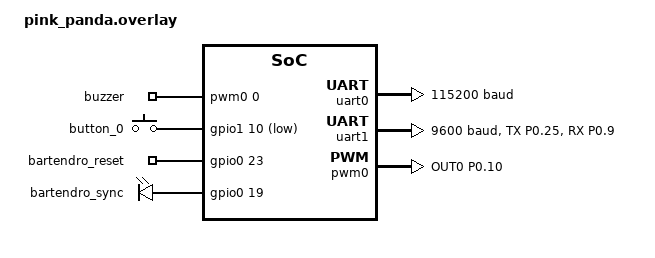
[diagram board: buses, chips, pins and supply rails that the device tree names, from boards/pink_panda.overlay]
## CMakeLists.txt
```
#-------------------------------------------------------------------------------
# Zephyr Example Application
#
# Copyright (c) 2022 François Gervais
# SPDX-License-Identifier: Apache-2.0

# set(OVERLAY_CONFIG "secret.conf")

cmake_minimum_required(VERSION 3.20.0)
list(APPEND BOARD_ROOT ${CMAKE_CURRENT_SOURCE_DIR})
find_package(Zephyr REQUIRED HINTS $ENV{ZEPHYR_BASE})

execute_process(COMMAND git describe
                WORKING_DIRECTORY ${CMAKE_CURRENT_SOURCE_DIR}
                OUTPUT_VARIABLE GIT_DESCRIBE
                ERROR_QUIET)
string(STRIP "${GIT_DESCRIBE}" GIT_DESCRIBE)
STRING(REGEX MATCH "[0-9]+\\.[0-9]+\\.[0-9]+"
       VERSION "${GIT_DESCRIBE}")

project(app LANGUAGES C VERSION ${VERSION})

configure_file(app_version.h.in ${CMAKE_BINARY_DIR}/app/include/app_version.h)
target_include_directories(app PRIVATE ${CMAKE_BINARY_DIR}/app/include src)

target_sources(app PRIVATE
        src/bartendro.c
        src/init.c
        src/reset.c
        src/main.c)
```

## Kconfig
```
mainmenu "Thread Button Application"

config APP_SUSPEND_CONSOLE
	bool "Suspend console"
	help
	  Suspend console.

config APP_USE_TEXT_MODE
	bool "Use the Bartendro text mode"
	help
	  Use the Bartendro text mode.

config APP_WATCHDOG_TIMEOUT_SEC
	int "Watchdog timeout (sec)"
	default 30
	help
	  Watchdog timeout in seconds.

config APP_MAIN_LOOP_PERIOD_SEC
	int "Main loop period (sec)"
	default 10
	help
	  Main loop period in seconds.

source "Kconfig.zephyr"
```

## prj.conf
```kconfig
CONFIG_INPUT=y
CONFIG_WATCHDOG=y
CONFIG_SERIAL=y

CONFIG_HEAP_MEM_POOL_SIZE=2048

CONFIG_PM_DEVICE=y

CONFIG_MAIN_STACK_SIZE=2048
CONFIG_LOG_BUFFER_SIZE=2048

CONFIG_BOARD_ENABLE_DCDC=y

CONFIG_THREAD_NAME=y
CONFIG_EVENTS=y

CONFIG_CONSOLE=y
CONFIG_UART_CONSOLE=y

CONFIG_PWM=y

CONFIG_HWINFO=y
CONFIG_THREAD_ANALYZER=y
CONFIG_INPUT_LOG_LEVEL_DBG=y
CONFIG_INPUT_THREAD_STACK_SIZE=1024
CONFIG_LOG_SPEED=y
CONFIG_LOG=y
```

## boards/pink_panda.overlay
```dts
#include <zephyr/dt-bindings/input/input-event-codes.h>

/ {
	/*
	* In some default configurations within the nRF Connect SDK,
	* e.g. on nRF52840, the chosen zephyr,entropy node is &cryptocell.
	* This devicetree overlay ensures that default is overridden wherever it
	* is set, as this application uses the RNG node for entropy exclusively.
	*/
	chosen {
		zephyr,entropy = &rng;
	};

	aliases {
		bartendro-uart = &uart1;
	};

	pwms {
		compatible = "pwm-leds";
		buzzer: pwm_buzzer {
			pwms = <&pwm0 0 PWM_USEC(250) PWM_POLARITY_NORMAL>;
		};
	};

	button: button {
		compatible = "gpio-keys";
		button_0 {
			gpios = <&gpio1 10 (GPIO_PULL_UP | GPIO_ACTIVE_LOW)>;
			zephyr,code = <INPUT_KEY_0>;
		};
	};

	longpress: longpress {
		input = <&button>;
		compatible = "zephyr,input-longpress";
		input-codes = <INPUT_KEY_0>;
		short-codes = <INPUT_KEY_A>;
		long-codes = <INPUT_KEY_X>;
		long-delay-ms = <1000>;
	};

	gpios {
		compatible = "gpio-leds";
		bartendro_reset: gpio_reset {
			gpios = <&gpio0 23 GPIO_ACTIVE_HIGH>;
		};
		bartendro_sync: gpio_sync {
			gpios = <&gpio0 19 GPIO_ACTIVE_HIGH>;
		};
	};
};

&pinctrl {
	uart1_default: uart1_default {
		group1 {
			psels = <NRF_PSEL(UART_TX, 0, 25)>;
		};
		group2 {
			psels = <NRF_PSEL(UART_RX, 0, 9)>;
			bias-pull-up;
		};
	};

	uart1_sleep: uart1_sleep {
		group1 {
			psels = <NRF_PSEL(UART_TX, 0, 25)>,
				<NRF_PSEL(UART_RX, 0, 9)>;
			low-power-enable;
		};
	};

	pwm0_default: pwm0_default {
		group1 {
			psels = <NRF_PSEL(PWM_OUT0, 0, 10)>;
		};
	};

	pwm0_sleep: pwm0_sleep {
		group1 {
			psels = <NRF_PSEL(PWM_OUT0, 0, 10)>;
			low-power-enable;
		};
	};
};
&adc {
	status = "disabled";
};
&uart0 {
	compatible = "nordic,nrf-uarte";
	status = "okay";
	current-speed = <115200>;
	pinctrl-0 = <&uart0_default>;
	pinctrl-1 = <&uart0_sleep>;
	pinctrl-names = "default", "sleep";
};
&uart1 {
	compatible = "nordic,nrf-uarte";
	status = "okay";
	current-speed = <9600>;
	pinctrl-0 = <&uart1_default>;
	pinctrl-1 = <&uart1_sleep>;
	pinctrl-names = "default", "sleep";
};
&pwm0 {
	status = "okay";
	pinctrl-0 = <&pwm0_default>;
	pinctrl-1 = <&pwm0_sleep>;
	pinctrl-names = "default", "sleep";
};
&i2c0 {
	status = "disabled";
};
&spi0 {
	status = "disabled";
};
&spi1 {
	status = "disabled";
};
&spi2 {
	status = "disabled";
};
&spi3 {
	status = "disabled";
};
&qspi {
	status = "disabled";
};
&usbd {
	status = "disabled";
};
&gpio0 {
	status = "okay";
};
&gpio1 {
	status = "okay";
};
&ieee802154 {
	status = "disabled";
};
```

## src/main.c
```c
#include <hal/nrf_power.h>

#include <zephyr/debug/thread_analyzer.h>
#include <zephyr/drivers/gpio.h>
#include <zephyr/drivers/pwm.h>
#include <zephyr/drivers/watchdog.h>
#include <zephyr/init.h>
#include <zephyr/input/input.h>
#include <zephyr/kernel.h>
#include <zephyr/pm/device.h>
#include <zephyr/sys/reboot.h>

#include <zephyr/logging/log.h>
LOG_MODULE_REGISTER(main, LOG_LEVEL_DBG);

#include <app_version.h>

#include "bartendro.h"
#include "init.h"
#include "reset.h"


#define DISPENSE_REQUIRED_EVENT		BIT(0)
#define DISPENSE_ERROR_EVENT		BIT(1)

#define RUN_ANALYSIS_EVERY_SEC		60
#define NUMBER_OF_LOOP_RUN_ANALYSIS	(RUN_ANALYSIS_EVERY_SEC / CONFIG_APP_MAIN_LOOP_PERIOD_SEC)

#define ERROR_BOOT_TOKEN			(uint8_t)0x38


static const struct device *const longpress_dev = DEVICE_DT_GET(
	DT_NODELABEL(longpress));

static bool ready = false;

static K_EVENT_DEFINE(dispense_events);


static int change_output_voltage(void)
{
	if ((nrf_power_mainregstatus_get(NRF_POWER) ==
	     NRF_POWER_MAINREGSTATUS_HIGH) &&
	    ((NRF_UICR->REGOUT0 & UICR_REGOUT0_VOUT_Msk) ==
	     (UICR_REGOUT0_VOUT_DEFAULT << UICR_REGOUT0_VOUT_Pos))) {

		NRF_NVMC->CONFIG = NVMC_CONFIG_WEN_Wen << NVMC_CONFIG_WEN_Pos;
		while (NRF_NVMC->READY == NVMC_READY_READY_Busy) {
			;
		}

		NRF_UICR->REGOUT0 =
		    (NRF_UICR->REGOUT0 & ~((uint32_t)UICR_REGOUT0_VOUT_Msk)) |
		    (UICR_REGOUT0_VOUT_3V3 << UICR_REGOUT0_VOUT_Pos);

		NRF_NVMC->CONFIG = NVMC_CONFIG_WEN_Ren << NVMC_CONFIG_WEN_Pos;
		while (NRF_NVMC->READY == NVMC_READY_READY_Busy) {
			;
		}

		/* a reset is required for changes to take effect */
		NVIC_SystemReset();
	}

	return 0;
}

SYS_INIT(change_output_voltage, PRE_KERNEL_1,
	 CONFIG_KERNEL_INIT_PRIORITY_DEFAULT);

static void beep(const struct pwm_dt_spec *buzzer)
{
	pwm_set_dt(buzzer, PWM_USEC(250U), PWM_USEC(250U) * 0.53);
	k_sleep(K_MSEC(50));
	pwm_set_dt(buzzer, PWM_USEC(250U), 0);
	k_sleep(K_MSEC(50));
}

static void beep_long(const struct pwm_dt_spec *buzzer)
{
	pwm_set_dt(buzzer, PWM_USEC(250U), PWM_USEC(250U) * 0.53);
	k_sleep(K_MSEC(250));
	pwm_set_dt(buzzer, PWM_USEC(250U), 0);
}

static void beeps(const struct pwm_dt_spec *buzzer, int number) {
	int i;

	for (i = 0; i < number; i++) {
		beep(buzzer);
	}
}

int main(void)
{
	const struct device *wdt = DEVICE_DT_GET(DT_NODELABEL(wdt0));
#if defined(CONFIG_APP_SUSPEND_CONSOLE)
	const struct device *cons = DEVICE_DT_GET(DT_CHOSEN(zephyr_console));
#endif
	const struct pwm_dt_spec buzzer = PWM_DT_SPEC_GET(
		DT_NODELABEL(buzzer));

	const struct gpio_dt_spec reset_pin = GPIO_DT_SPEC_GET(
		DT_NODELABEL(bartendro_reset), gpios);
	const struct gpio_dt_spec sync_pin = GPIO_DT_SPEC_GET(
		DT_NODELABEL(bartendro_sync), gpios);

	const struct device *uart = DEVICE_DT_GET(DT_NODELABEL(uart1));

	int ret;
	uint32_t events;
	int main_wdt_chan_id = -1;
	uint32_t reset_cause;
	bool fast_boot = false;

	uint32_t main_loop_counter = 0;


	init_watchdog(wdt, &main_wdt_chan_id);

	LOG_INF("\n\n🚀 MAIN START (%s) 🚀\n", APP_VERSION_FULL);

	reset_cause = show_reset_cause();
	clear_reset_cause();

	if (is_reset_cause_watchdog(reset_cause)
		 || nrf_power_gpregret_get(NRF_POWER) == ERROR_BOOT_TOKEN) {
		LOG_INF("🔥 Fast boot!");
		fast_boot = true;
	}

	if (!pwm_is_ready_dt(&buzzer)) {
		LOG_ERR("Buzzer is not ready");
		return 0;
	}

	if (!gpio_is_ready_dt(&reset_pin)) {
		LOG_ERR("LED device %s is not ready", reset_pin.port->name);
		return 0;
	}

	if (!gpio_is_ready_dt(&sync_pin)) {
		LOG_ERR("LED device %s is not ready", sync_pin.port->name);
		return 0;
	}

	if (!device_is_ready(uart)) {
		LOG_ERR("UART is not ready");
		return 0;
	}

	ret = gpio_pin_configure_dt(&reset_pin, GPIO_OUTPUT_LOW);
	if (ret < 0) {
		LOG_ERR("Failed to configure the LED pin, error: %d", ret);
		return 0;
	}

	ret = gpio_pin_configure_dt(&sync_pin, GPIO_OUTPUT_LOW);
	if (ret < 0) {
		LOG_ERR("Failed to configure the LED pin, error: %d", ret);
		return 0;
	}

	if (!fast_boot) {
		beep_long(&buzzer);
	}

	ret = bartendro_init(&reset_pin, &sync_pin, uart);
	if (ret < 0) {
		LOG_ERR("Failed to init bartendro");
		return 1;
	}

	ready = true;
	if (!fast_boot) {
		beeps(&buzzer, 2);
	}
	LOG_INF("🎉 init done 🎉");

#if defined(CONFIG_APP_SUSPEND_CONSOLE)
	pm_device_action_run(cons, PM_DEVICE_ACTION_SUSPEND);
#endif

	while (1) {
		LOG_INF("💤 waiting for events");
		events = k_event_wait(&dispense_events,
				(DISPENSE_REQUIRED_EVENT | 
				 DISPENSE_ERROR_EVENT),
				true,
				K_SECONDS(CONFIG_APP_MAIN_LOOP_PERIOD_SEC));

		if (events & DISPENSE_REQUIRED_EVENT) {
			LOG_INF("🧼 Dispensing");
			beeps(&buzzer, 1);

			ret = bartendro_dispense(uart);
			if (ret < 0) {
				LOG_ERR("Failed to dispense");
				sys_reboot(ERROR_BOOT_TOKEN);
			}
			k_sleep(K_SECONDS(1));
		}
		else if (events & DISPENSE_ERROR_EVENT) {
			beeps(&buzzer, 3);
		}

		if (main_loop_counter % NUMBER_OF_LOOP_RUN_ANALYSIS == 0) {
#if !defined(CONFIG_APP_SUSPEND_CONSOLE)
			thread_analyzer_print();
#endif
		}

		main_loop_counter += 1;

		LOG_INF("🦴 feed watchdog");
		wdt_feed(wdt, main_wdt_chan_id);
	}

	return 0;
}

static void event_handler(struct input_event *evt)
{
	LOG_INF("GPIO_KEY %s pressed, zephyr_code=%u, value=%d",
		 evt->dev->name, evt->code, evt->value);

	if (!ready) {
		return;
	}

	if (evt->code == INPUT_KEY_X && evt->value) {
		LOG_INF("🛎️  We need to dispense detergent");
		k_event_post(&dispense_events, DISPENSE_REQUIRED_EVENT);
	}
	else if (evt->code == INPUT_KEY_A && !evt->value) {
		LOG_INF("❌ Button short press");
		k_event_post(&dispense_events, DISPENSE_ERROR_EVENT);
	}
}

INPUT_CALLBACK_DEFINE(longpress_dev, event_handler);
```

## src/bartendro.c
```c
#include <zephyr/drivers/gpio.h>
#include <zephyr/drivers/uart.h>
#include <zephyr/kernel.h>
#include <zephyr/sys/reboot.h>

#include <zephyr/logging/log.h>
LOG_MODULE_REGISTER(bartendro, LOG_LEVEL_DBG);


#define PACKET_TICK_SPEED_DISPENSE	22
#define PACKET_LED_OFF			7
#define RAW_PACKET_SIZE			10
#define BODY_LENGTH_WITH_PAYLOAD	8
#define BODY_LENGTH_NO_PAYLOAD		4


#if !defined(CONFIG_APP_USE_TEXT_MODE)
static uint8_t id;
#endif


static int bartendro_reset(const struct gpio_dt_spec *reset_pin) {
	int ret;

	// Ensure bartendro is powered up and listening for reset
	k_sleep(K_SECONDS(1));

	// Apply reset (high)
	ret = gpio_pin_set_dt(reset_pin, 1);
	if (ret < 0) {
		LOG_ERR("Failed to set pin, error: %d", ret);
		return ret;
	}

	// Minimum 1ms
	k_sleep(K_MSEC(100));

	// Release reset
	ret = gpio_pin_set_dt(reset_pin, 0);
	if (ret < 0) {
		LOG_ERR("Failed to set pin, error: %d", ret);
		return ret;
	}

	// Wait for bartendro to reset
	k_sleep(K_SECONDS(1));

	return 0;
}

static int bartendro_read_byte(const struct device *uart,
		unsigned char *rxdata) {
	int ret;

retry:
	ret = uart_poll_in(uart, rxdata);
	if (ret == -1) {
		k_sleep(K_USEC(100));
		goto retry;
	}
	else if (ret < 0) {
		LOG_ERR("Failed to read byte");
		return ret;
	}

	return 0;
}

static int bartendro_crc16(uint8_t *data, size_t data_size, uint16_t *crc) {
	int i, j;

	*crc = 0;

	for (i = 0; i < data_size; i++) {
		*crc ^= data[i];
		for (j = 0; j < 8; j++) {
			if (*crc & 1) {
				*crc = (*crc >> 1) ^ 0xA001;
			}
			else {
				*crc = (*crc >> 1);
			}
		}
	}

	return 0;
}

static void pack_7bit(uint8_t *in, uint8_t in_count,
		uint8_t *out, uint8_t *out_count)
{
	uint16_t buffer = 0;
	uint8_t  bitcount = 0;

	*out_count = 0;
	for(;;)
	{
		if (bitcount < 7)
		{
			buffer <<= 8;
			buffer |= *in++;
			in_count--;
			bitcount += 8;
		}
		*out = (buffer >> (bitcount - 7));
		out++;
		(*out_count)++;

		buffer &= (1 << (bitcount - 7)) - 1;
		bitcount -= 7;

		if (in_count == 0)
			break;
	}
	*out = buffer << (7 - bitcount);
	(*out_count)++;
}

static int bartendro_get_id(const struct device *uart,
		uint8_t *id) {
	int ret;

	uart_poll_out(uart, '?');

	LOG_INF("Trying to read ID");
	ret = bartendro_read_byte(uart, id);
	if (ret < 0) {
		return ret;
	}
	LOG_INF("🪪 ID: 0x%02x", *id);

	LOG_INF("Exit address exchange phase");
	uart_poll_out(uart, 0xff);

	return 0;
}

static int bartendro_led_off(const struct device *uart,
		const struct gpio_dt_spec *sync_pin,
		uint8_t *id) {
	int ret;
	int i;
	uint8_t body[BODY_LENGTH_NO_PAYLOAD] = {
			*id,
			PACKET_LED_OFF,
			0, 0 };
	uint8_t packed[RAW_PACKET_SIZE + 2]; // +2 for the header
	uint8_t packed_size;
	unsigned char ack;
	uint16_t crc;

	bartendro_crc16(body, BODY_LENGTH_NO_PAYLOAD - 2, &crc);
	body[BODY_LENGTH_NO_PAYLOAD - 2] = (uint8_t)crc;
	body[BODY_LENGTH_NO_PAYLOAD - 1] = (uint8_t)(crc >> 8);

	LOG_HEXDUMP_DBG(body, sizeof(body), "body:");

	packed[0] = 0xff;
	packed[1] = 0xff;
	pack_7bit(body, sizeof(body), &packed[2], &packed_size);

	LOG_INF("Sending led_off command");

	for (i = 0; i < sizeof(packed); i++) {
		uart_poll_out(uart, packed[i]);
	}

	LOG_INF("✅ led_off command sent");

	LOG_INF("Reading ACK");

	ret = bartendro_read_byte(uart, &ack);
	if (ret < 0) {
		return ret;
	}

	if (ack != 0) {
		LOG_INF("❌ NoACK (%d)", ack);
		return -1;
	}

	LOG_INF("✅ ACK received");

	// Toggle the pin a few times.
	// Not sure exactly how many times I need to toggle it.
	for (i = 0; i < 10; i++) {
		gpio_pin_toggle_dt(sync_pin);
		k_sleep(K_MSEC(1));
	}

	return 0;
}

#if defined(CONFIG_APP_USE_TEXT_MODE)
static int bartendro_text_mode(const struct device *uart) {
	int i;

	for (i = 0; i < 3; i++) {
		uart_poll_out(uart, '!');
	}

	k_sleep(K_SECONDS(2));

	return 0;
}

int bartendro_dispense(const struct device *uart) {
	int i;
	unsigned char *command = "tickdisp 50 200\r";

	LOG_INF("Sending dispense command");

	for (i = 0; i < strlen(command); i++) {
		uart_poll_out(uart, command[i]);
	}

	LOG_INF("✅ Dispense command sent");

	return 0;
}
#else
int bartendro_dispense(const struct device *uart) {
	int ret;
	int i;
	uint8_t body[BODY_LENGTH_WITH_PAYLOAD] = { id,
			    PACKET_TICK_SPEED_DISPENSE,
			    50, 0,
			    200, 0,
			    0, 0 };
	uint8_t packed[RAW_PACKET_SIZE + 2]; // +2 for the header
	uint8_t packed_size;
	unsigned char ack;
	uint16_t crc;

	bartendro_crc16(body, BODY_LENGTH_WITH_PAYLOAD - 2, &crc);
	body[BODY_LENGTH_WITH_PAYLOAD - 2] = (uint8_t)crc;
	body[BODY_LENGTH_WITH_PAYLOAD - 1] = (uint8_t)(crc >> 8);

	LOG_HEXDUMP_DBG(body, sizeof(body), "body:");

	packed[0] = 0xff;
	packed[1] = 0xff;
	pack_7bit(body, sizeof(body), &packed[2], &packed_size);

	LOG_INF("Sending dispense command");

	for (i = 0; i < sizeof(packed); i++) {
		uart_poll_out(uart, packed[i]);
	}

	LOG_INF("✅ Dispense command sent");

	LOG_INF("Reading ACK");

	ret = bartendro_read_byte(uart, &ack);
	if (ret < 0) {
		return ret;
	}

	if (ack != 0) {
		LOG_INF("❌ NoACK (%d)", ack);
		return -1;
	}

	LOG_INF("✅ ACK received");

	return 0;
}
#endif

int bartendro_init(const struct gpio_dt_spec *reset_pin,
		   const struct gpio_dt_spec *sync_pin,
		   const struct device *uart) {
	int ret = 0;

	LOG_INF("🏁 Reseting dispenser");
	ret = bartendro_reset(reset_pin);
	if (ret < 0) {
		LOG_ERR("Failed to reset bartendro");
		return ret;
	}

	LOG_INF("☎️  Making contact with dispenser");
#if defined(CONFIG_APP_USE_TEXT_MODE)
	ret = bartendro_text_mode(uart);
	if (ret < 0) {
		LOG_ERR("Could not enter text mode");
		return ret;
	}
#else
	ret = bartendro_get_id(uart, &id);
	if (ret < 0) {
		LOG_ERR("Failed to get ID");
		return ret;
	}

	bartendro_led_off(uart, sync_pin, &id);
#endif

	LOG_INF("👍 Dispenser ready!"); 

	return 0;
}
```

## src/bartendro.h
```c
#ifndef BARTENDRO_H_
#define BARTENDRO_H_

int bartendro_dispense(const struct device *uart);
int bartendro_init(const struct gpio_dt_spec *reset_pin,
				   const struct gpio_dt_spec *sync_pin,
				   const struct device *uart);

#endif /* BARTENDRO_H_ */
```

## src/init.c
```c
#include <zephyr/drivers/watchdog.h>
#include <zephyr/kernel.h>

#include <zephyr/logging/log.h>
LOG_MODULE_REGISTER(init, LOG_LEVEL_DBG);

#include "init.h"


static int watchdog_new_channel(const struct device *wdt)
{
	int ret;

	struct wdt_timeout_cfg wdt_config = {
		.window.min = 0,
		.window.max = CONFIG_APP_WATCHDOG_TIMEOUT_SEC * MSEC_PER_SEC,
		.callback = NULL,
		.flags = WDT_FLAG_RESET_SOC,
	};

	ret = wdt_install_timeout(wdt, &wdt_config);
	if (ret < 0) {
		LOG_ERR("watchdog install error");
	}

	return ret;
}

int init_watchdog(const struct device *wdt,
		  int *main_channel_id)
{
	int ret;

	if (!device_is_ready(wdt)) {
		LOG_ERR("%s: device not ready", wdt->name);
		return -ENODEV;
	}

	ret = watchdog_new_channel(wdt);
	if (ret < 0) {
		LOG_ERR("Could not create a new watchdog channel");
		return ret;
	}

	*main_channel_id = ret;
	LOG_INF("main watchdog channel id: %d", *main_channel_id);

	ret = wdt_setup(wdt, WDT_OPT_PAUSE_HALTED_BY_DBG);
	if (ret < 0) {
		LOG_ERR("watchdog setup error");
		return 0;
	}

	LOG_INF("🐶 watchdog started!");

	return 0;
}
```

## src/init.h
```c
#ifndef INIT_H_
#define INIT_H_

int init_watchdog(const struct device *wdt,
		  int *main_channel_id);

#endif /* INIT_H_ */
```
